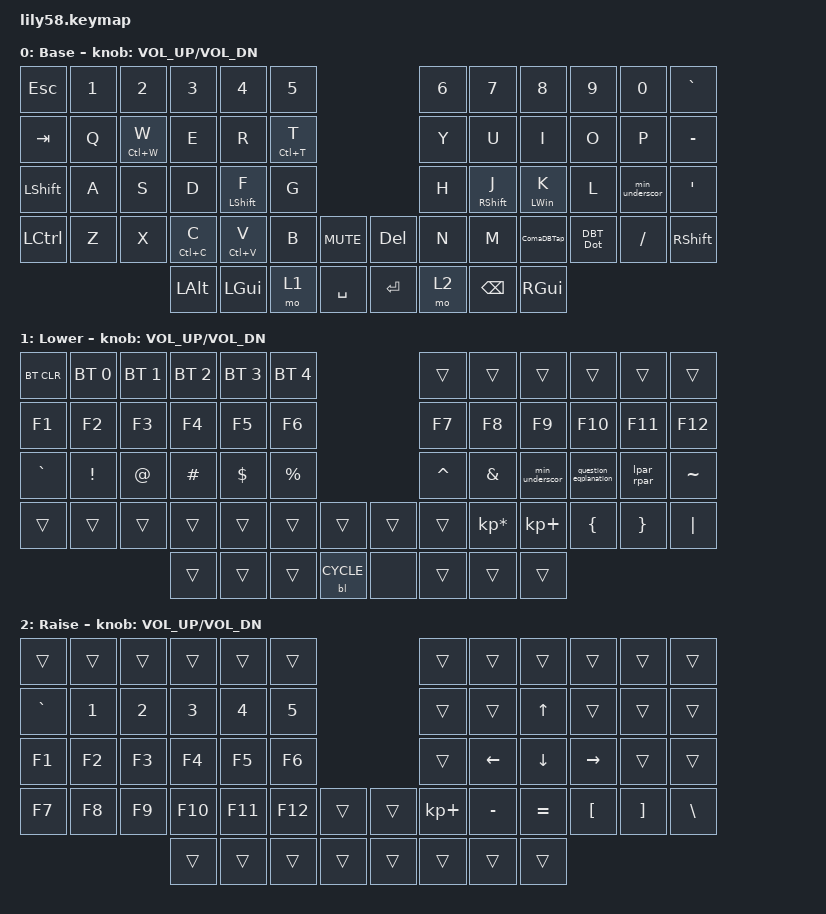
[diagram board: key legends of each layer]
/*
 * Copyright (c) 2020 The ZMK Contributors
 *
 * SPDX-License-Identifier: MIT
 */

#include <behaviors.dtsi>
#include <dt-bindings/zmk/backlight.h>
#include <dt-bindings/zmk/bt.h>
#include <dt-bindings/zmk/keys.h>

&led_strip {
    chain-length = <6>;
    label = "LED_STRIP";
};

/ {
    behaviors {
        ComaDBTap: ComaDBTap {
            compatible = "zmk,behavior-tap-dance";
            label = "COMADBTAP";
            #binding-cells = <0>;
            bindings = <&kp COMMA>, <&kp SEMICOLON>;
        };

        DBT_Dot: DBT_Dot {
            compatible = "zmk,behavior-tap-dance";
            label = "DBT_DOT";
            #binding-cells = <0>;
            bindings = <&kp DOT>, <&kp COLON>;
        };

        long_press: long_press {
            compatible = "zmk,behavior-hold-tap";
            label = "LONG_PRESS";
            bindings = <&kp>, <&kp>;

            #binding-cells = <2>;
            tapping-term-ms = <350>;
            flavor = "tap-preferred";
        };

        hmShiftR: hmShiftR {
            compatible = "zmk,behavior-hold-tap";
            label = "HMSHIFTR";
            bindings = <&kp>, <&kp>;

            #binding-cells = <2>;
            tapping-term-ms = <200>;
            hold-while-undecided;
            hold-trigger-key-positions = <0 12 36 0 1 2 3 4 5 12 13 14 15 16 17 24 25 26 27 28 29 36 37 38 39 40 41 42 50 51 52 53>;
            hold-trigger-on-release;
        };

        hmShiftLeft: hmShiftLeft {
            compatible = "zmk,behavior-hold-tap";
            label = "HMSHIFTLEFT";
            bindings = <&kp>, <&kp>;

            #binding-cells = <2>;
            tapping-term-ms = <200>;
            hold-while-undecided;
            hold-trigger-on-release;
            hold-trigger-key-positions = <6 7 8 9 10 11 18 19 20 21 22 23 30 31 32 33 34 35 44 45 46 47 48 49 54 55 56 57 43>;
        };

        hmr: hmr {
            compatible = "zmk,behavior-hold-tap";
            label = "HMR";
            bindings = <&kp>, <&kp>;

            #binding-cells = <2>;
            tapping-term-ms = <200>;
            hold-while-undecided;
            hold-trigger-key-positions = <0 12 36 0 1 2 3 4 5 12 13 14 15 16 17 24 25 26 27 28 29 36 37 38 39 40 41 42 50 51 52 53>;
            hold-trigger-on-release;
            flavor = "tap-preferred";
        };

        hml: hml {
            compatible = "zmk,behavior-hold-tap";
            label = "HML";
            bindings = <&kp>, <&kp>;

            #binding-cells = <2>;
            tapping-term-ms = <200>;
            hold-while-undecided;
            hold-trigger-on-release;
            hold-trigger-key-positions = <6 7 8 9 10 11 18 19 20 21 22 23 30 31 32 33 34 35 44 45 46 47 48 49 54 55 56 57 43>;
            flavor = "tap-preferred";
        };

        min_underscor: min_underscor {
            compatible = "zmk,behavior-tap-dance";
            label = "MIN_UNDERSCOR";
            #binding-cells = <0>;
            bindings = <&kp MINUS>, <&kp UNDER>;
        };

        question_eqplanation: question_eqplanation {
            compatible = "zmk,behavior-tap-dance";
            label = "QUESTION_EQPLANATION";
            #binding-cells = <0>;
            bindings = <&kp QUESTION>, <&kp EXCLAMATION>;
        };

        lpar_rpar: lpar_rpar {
            compatible = "zmk,behavior-tap-dance";
            label = "LPAR_RPAR";
            #binding-cells = <0>;
            bindings = <&kp LPAR>, <&kp RPAR>;
        };
    };

    keymap {
        compatible = "zmk,keymap";

        default_layer {
            // ------------------------------------------------------------------------------------------------------------
            // |  ESC  |  1  |  2  |  3   |  4   |  5   |                   |  6   |  7    |  8    |  9   |   0   |   `   |
            // |  TAB  |  Q  |  W  |  E   |  R   |  T   |                   |  Y   |  U    |  I    |  O   |   P   |   -   |
            // |  CTRL |  A  |  S  |  D   |  F   |  G   |                   |  H   |  J    |  K    |  L   |   ;   |   '   |
            // | SHIFT |  Z  |  X  |  C   |  V   |  B   |   "["  |  |  "]"  |  N   |  M    |  ,    |  .   |   /   | SHIFT |
            //                     | ALT  | GUI  | LOWER|  SPACE |  | ENTER | RAISE| BSPC  | GUI   |

            display-name = "Base";
            bindings = <
&kp ESC         &kp N1  &kp N2               &kp N3               &kp N4                     &kp N5                                         &kp N6  &kp N7                   &kp N8              &kp N9    &kp N0          &kp GRAVE
&kp TAB         &kp Q   &long_press LC(W) W  &kp E                &kp R                      &long_press LC(T) T                            &kp Y   &kp U                    &kp I               &kp O     &kp P           &kp MINUS
&kp LEFT_SHIFT  &kp A   &kp S                &kp D                &hmShiftLeft LEFT_SHIFT F  &kp G                                          &kp H   &hmShiftR RIGHT_SHIFT J  &long_press LWIN K  &kp L     &min_underscor  &kp SQT
&kp LCTRL       &kp Z   &kp X                &long_press LC(C) C  &long_press LC(V) V        &kp B                &kp C_MUTE    &kp DELETE  &kp N   &kp M                    &ComaDBTap          &DBT_Dot  &kp FSLH        &kp RSHFT
                                             &kp LALT             &kp LGUI                   &mo 1                &kp SPACE     &kp RET     &mo 2   &kp BACKSPACE            &kp RGUI
            >;

            sensor-bindings = <&inc_dec_kp C_VOL_UP C_VOL_DN>;
        };

        lower_layer {
            // ------------------------------------------------------------------------------------------------------------
            // | BTCLR | BT1 | BT2 |  BT3 |  BT4 |  BT5 |                   |      |       |       |      |       |       |
            // |  F1   |  F2 |  F3 |  F4  |  F5  |  F6  |                   |  F7  |  F8   |  F9   |  F10 |  F11  |  F12  |
            // |   `   |  !  |  @  |  #   |  $   |  %   |                   |  ^   |  &    |  *    |  (   |   )   |   ~   |
            // |       |     |     |      |      |      |        |  |       |      |  _    |  +    |  {   |   }   |  "|"  |
            //                     |      |      |      |        |  |       |      |       |       |

            display-name = "Lower";
            bindings = <
&bt BT_CLR  &bt BT_SEL 0  &bt BT_SEL 1  &bt BT_SEL 2  &bt BT_SEL 3  &bt BT_SEL 4                          &trans     &trans           &trans          &trans                 &trans      &trans
&kp F1      &kp F2        &kp F3        &kp F4        &kp F5        &kp F6                                &kp F7     &kp F8           &kp F9          &kp F10                &kp F11     &kp F12
&kp GRAVE   &kp EXCL      &kp AT        &kp HASH      &kp DOLLAR    &kp PRCNT                             &kp CARET  &kp AMPS         &min_underscor  &question_eqplanation  &lpar_rpar  &kp TILDE
&trans      &trans        &trans        &trans        &trans        &trans        &trans          &trans  &trans     &kp KP_MULTIPLY  &kp KP_PLUS     &kp LBRC               &kp RBRC    &kp PIPE
                                        &trans        &trans        &trans        &bl BL_CYCLE    &none   &trans     &trans           &trans
            >;

            sensor-bindings = <&inc_dec_kp C_VOL_UP C_VOL_DN>;
        };

        raise_layer {
            // ------------------------------------------------------------------------------------------------------------
            // |       |     |     |      |      |      |                   |      |       |       |      |       |       |
            // |   `   |  1  |  2  |  3   |  4   |  5   |                   |  6   |   7   |   8   |  9   |   0   |       |
            // |   F1  |  F2 |  F3 |  F4  |  F5  |  F6  |                   |      |   <-  |   v   |  ^   |  ->   |       |
            // |   F7  |  F8 |  F9 |  F10 |  F11 |  F12 |        |  |       |  +   |   -   |   =   |  [   |   ]   |   \   |
            //                     |      |      |      |        |  |       |      |       |       |

            display-name = "Raise";
            bindings = <
&trans     &trans  &trans  &trans   &trans   &trans                     &trans       &trans     &trans        &trans     &trans    &trans
&kp GRAVE  &kp N1  &kp N2  &kp N3   &kp N4   &kp N5                     &trans       &trans     &kp UP_ARROW  &trans     &trans    &trans
&kp F1     &kp F2  &kp F3  &kp F4   &kp F5   &kp F6                     &trans       &kp LEFT   &kp DOWN      &kp RIGHT  &trans    &trans
&kp F7     &kp F8  &kp F9  &kp F10  &kp F11  &kp F12  &trans    &trans  &kp KP_PLUS  &kp MINUS  &kp EQUAL     &kp LBKT   &kp RBKT  &kp BSLH
                           &trans   &trans   &trans   &trans    &trans  &trans       &trans     &trans
            >;

            sensor-bindings = <&inc_dec_kp C_VOL_UP C_VOL_DN>;
        };
    };
};
